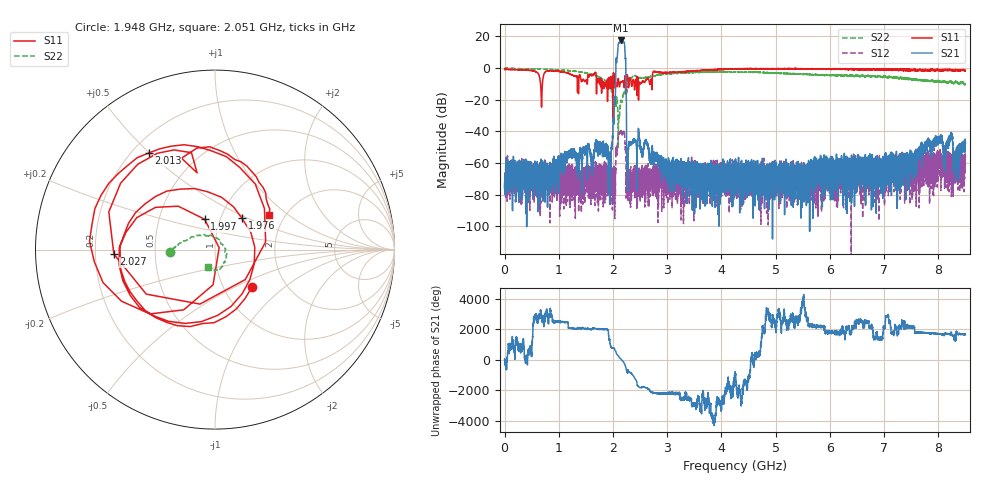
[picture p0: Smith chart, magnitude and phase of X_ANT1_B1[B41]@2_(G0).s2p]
#  HZ  S  RI  R  50.00
! Rohde & Schwarz Vector Network Analyzer
! Rohde-Schwarz,ZNBT8-20Port,1318700624101681,3.50
! Created: UTC 7/15/2025, 2:10:12 PM
! freq[Hz]  re:S1010  im:S1010  re:S0510  im:S0510  re:S1005  im:S1005  re:S55  im:S55
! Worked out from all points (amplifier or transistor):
!   8500 points, 1 MHz to 8.5 GHz, reference 50 ohm
!   highest |S21| = 17.4 dB at 2.143 GHz (marker M1)
!   |S21| within 3 dB of that: 2.095 GHz to 2.215 GHz (119.8 MHz wide, 5.56 % of centre)
!   unconditionally stable (mu >= 1): start of sweep to end of sweep
!   at 1.417 GHz: K = 4734990.15, MAG = -52.2 dB, |S12| = -91.4 dB
!   at 4.251 GHz: K = 182166.70, MAG = -58.8 dB, |S12| = -64.8 dB
!   at 8.5 GHz: K = 20653.62, MAG = -42.3 dB, |S12| = -55.4 dB
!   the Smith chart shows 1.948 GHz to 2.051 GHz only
!   S11 on the Smith chart (normalised r, x): 1.948 GHz: 1.35, -0.62; 1.976 GHz: 1.26, +0.46; 1.997 GHz: 0.84, +0.29; 2.013 GHz: 0.26, +0.50; 2.027 GHz: 0.28, -0.02; 2.051 GHz: 1.65, +0.73
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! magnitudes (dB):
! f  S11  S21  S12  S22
! 1 MHz  -0.9  -72.4  -74.1  -0.2
! 1.418 GHz  -8.4  -57.3  -72.8  -2.6
! 1.948 GHz  -10.6  -53.9  -78.4  -12.0
! 1.976 GHz  -12.8  -49.9  -63.9  -15.3
! 1.997 GHz  -15.0  -42.6  -75.8  -20.7
! 2.013 GHz  -3.7  -34.1  -74.3  -25.6
! 2.027 GHz  -5.0  -18.2  -74.4  -22.0
! 2.051 GHz  -9.0  -4.5  -63.9  -19.7
! 2.093 GHz  -7.1  13.6  -44.3  -32.7
! 2.143 GHz  -8.8  17.4  -39.8  -21.3
! 2.205 GHz  -12.1  16.0  -41.5  -15.7
! 2.292 GHz  -11.1  -48.0  -68.5  -10.6
! 2.61 GHz  -7.6  -46.9  -67.6  -5.8
! 2.834 GHz  -2.8  -58.1  -63.4  -4.5
! 4.251 GHz  -0.6  -71.3  -64.8  -2.5
! 5.667 GHz  -0.3  -62.0  -65.1  -4.3
! 7.084 GHz  -0.9  -62.1  -67.2  -5.5
! 8.01 GHz  -1.5  -45.0  -55.3  -8.1
! 8.128 GHz  -1.4  -52.2  -55.9  -8.7
! 8.231 GHz  -0.9  -41.5  -67.8  -8.8
! 8.315 GHz  -1.7  -54.4  -62.1  -8.9
! 8.5 GHz  -1.7  -47.6  -55.4  -10.0
